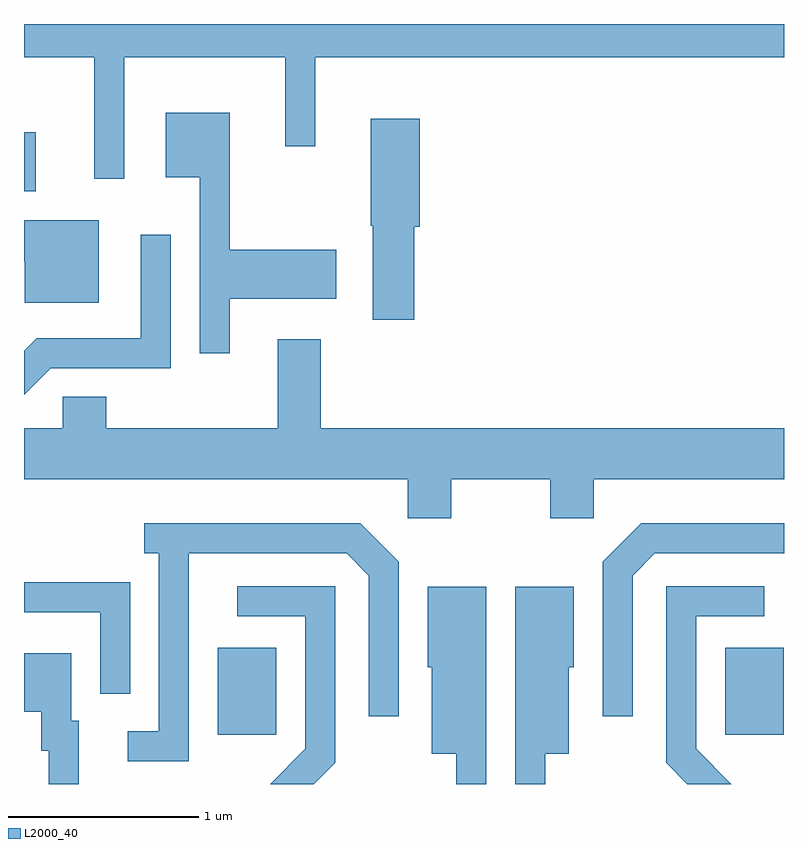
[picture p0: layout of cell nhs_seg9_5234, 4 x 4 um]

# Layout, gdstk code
import gdstk
lib = gdstk.Library(unit=1e-6, precision=1e-09)
def R(c, l, rs):  # rectangles x0, y0, x1, y1
    for r in rs: c.add(gdstk.rectangle(r[:2], r[2:], *l))
def P(c, l, *ps):  # polygons
    for p in ps: c.add(gdstk.Polygon(p, *l))
L2000_40 = (2000, 40)

nhs_seg9_5234 = lib.new_cell('nhs_seg9_5234')
R(nhs_seg9_5234, L2000_40, [(340.631,1992.691,340.939,1993.149), (343.301,1992.691,343.609,1993.149), (339.611,1995.551,339.674,1995.863)])
P(nhs_seg9_5234, L2000_40, [(340.139,1996.256),(340.986,1996.256),(340.986,1995.788),(341.144,1995.788),(341.144,1996.256),(343.611,1996.256),(343.611,1996.432),(339.611,1996.432),(339.611,1996.256),(339.981,1996.256),(339.981,1995.618),(340.139,1995.618)],
  [(340.694,1994.986),(341.254,1994.986),(341.254,1995.244),(340.694,1995.244),(340.694,1995.964),(340.356,1995.964),(340.356,1995.626),(340.536,1995.626),(340.536,1994.698),(340.694,1994.698)],
  [(341.664,1995.366),(341.694,1995.366),(341.694,1995.934),(341.436,1995.934),(341.436,1995.37),(341.446,1995.37),(341.446,1994.876),(341.664,1994.876)],
  [(340.004,1995.399),(339.611,1995.399),(339.611,1995.181),(339.616,1995.181),(339.616,1994.966),(340.004,1994.966)],
  [(339.752,1994.621),(340.384,1994.621),(340.384,1995.323),(340.226,1995.323),(340.226,1994.779),(339.679,1994.779),(339.611,1994.711),(339.611,1994.48)],
  [(341.859,1994.036),(342.381,1994.036),(342.381,1993.831),(342.609,1993.831),(342.609,1994.036),(343.611,1994.036),(343.611,1994.304),(341.174,1994.304),(341.174,1994.774),(340.946,1994.774),(340.946,1994.304),(340.044,1994.304),(340.044,1994.469),(339.816,1994.469),(339.816,1994.304),(339.611,1994.304),(339.611,1994.036),(341.631,1994.036),(341.631,1993.831),(341.859,1993.831)],
  [(340.479,1993.646),(341.309,1993.646),(341.426,1993.529),(341.426,1992.788),(341.584,1992.788),(341.584,1993.602),(341.382,1993.804),(340.243,1993.804),(340.243,1993.646),(340.321,1993.646),(340.321,1992.709),(340.158,1992.709),(340.158,1992.551),(340.479,1992.551)],
  [(342.814,1993.529),(342.932,1993.646),(343.611,1993.646),(343.611,1993.804),(342.859,1993.804),(342.656,1993.602),(342.656,1992.788),(342.814,1992.788)],
  [(340.169,1993.494),(339.611,1993.494),(339.611,1993.336),(340.011,1993.336),(340.011,1992.908),(340.169,1992.908)],
  [(341.249,1992.544),(341.249,1993.474),(340.733,1993.474),(340.733,1993.316),(341.091,1993.316),(341.091,1992.617),(340.907,1992.432),(341.137,1992.432)],
  [(343.149,1992.617),(343.149,1993.316),(343.508,1993.316),(343.508,1993.474),(342.991,1993.474),(342.991,1992.544),(343.103,1992.432),(343.334,1992.432)],
  [(342.044,1993.469),(341.736,1993.469),(341.736,1993.046),(341.756,1993.046),(341.756,1992.591),(341.886,1992.591),(341.886,1992.432),(342.044,1992.432)],
  [(342.354,1992.591),(342.479,1992.591),(342.479,1993.046),(342.504,1993.046),(342.504,1993.469),(342.196,1993.469),(342.196,1992.432),(342.354,1992.432)],
  [(339.899,1992.764),(339.859,1992.764),(339.859,1993.119),(339.611,1993.119),(339.611,1992.811),(339.701,1992.811),(339.701,1992.606),(339.741,1992.606),(339.741,1992.432),(339.899,1992.432)])

lib.write_gds('nhs_seg9_5234.gds')
